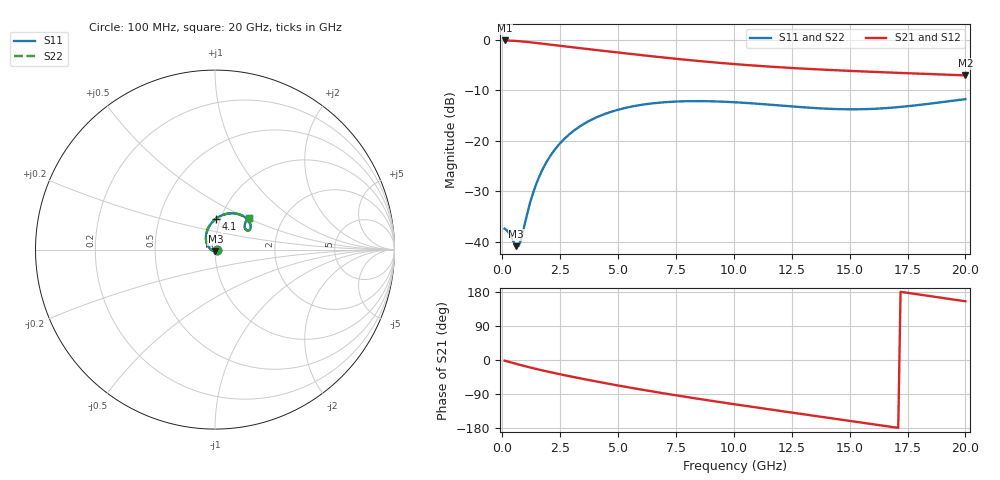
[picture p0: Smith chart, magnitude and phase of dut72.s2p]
! Created with skrf 1.9.0 (http://scikit-rf.org).
# GHz S RI R 50.0
!freq ReS11 ImS11 ReS21 ImS21 ReS12 ImS12 ReS22 ImS22
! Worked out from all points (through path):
!   200 points, 100 MHz to 20 GHz, reference 50 ohm
!   highest |S21| = -0.12 dB at 100 MHz (marker M1); lowest = -7.0 dB at 20 GHz (marker M2)
!   group delay of S21, straight-line fit = 27 ps
!   lowest |S11| = -40.9 dB at 600 MHz (marker M3), VSWR 1.02, Z = 50.2 - j0.883 ohm
!   |S11| at or under -10 dB: start of sweep to end of sweep
!   |S22| runs from -40.9 to -11.8 dB; largest |S21 - S12| = 2.2e-15
!   S11 on the Smith chart (normalised r, x): 100 MHz: 1.03, -0.00; 4.1 GHz: 0.95, +0.34; 20 GHz: 1.36, +0.51
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0.1  0.0133 -0.00206  0.9856 -0.0297  0.9856 -0.0297  0.0133 -0.00206
0.3  0.0106 -0.00573  0.9792 -0.0886  0.9792 -0.0886  0.0106 -0.00573
0.6  0.00183 -0.0088  0.9589 -0.1728  0.9589 -0.1728  0.00183 -0.0088
0.7  -0.00206 -0.00876  0.9498 -0.1994  0.9498 -0.1994  -0.00206 -0.00876
0.8  -0.00627 -0.00809  0.9396 -0.2251  0.9396 -0.2251  -0.00627 -0.00809
1.1  -0.0197 -0.00204  0.9038 -0.297  0.9038 -0.297  -0.0197 -0.00204
1.3  -0.0284 0.00523  0.8767 -0.3403  0.8767 -0.3403  -0.0284 0.00523
1.6  -0.0394 0.0202  0.8328 -0.3987  0.8328 -0.3987  -0.0394 0.0202
1.9  -0.0469 0.0387  0.7864 -0.4497  0.7864 -0.4497  -0.0469 0.0387
2.2  -0.0502 0.0592  0.7385 -0.4943  0.7385 -0.4943  -0.0502 0.0592
2.6  -0.0484 0.0874  0.6735 -0.545  0.6735 -0.545  -0.0484 0.0874
3.5  -0.0229 0.1439  0.5261 -0.6283  0.5261 -0.6283  -0.0229 0.1439
4.1  0.00476 0.1715  0.429 -0.6636  0.429 -0.6636  0.00476 0.1715
5.3  0.0676 0.1998  0.2446 -0.6935  0.2446 -0.6935  0.0676 0.1998
6.8  0.1358 0.196  0.044 -0.6727  0.044 -0.6727  0.1358 0.196
8.4  0.1807 0.1682  -0.1269 -0.6061  -0.1269 -0.6061  0.1807 0.1682
10.1  0.1983 0.1354  -0.2641 -0.5087  -0.2641 -0.5087  0.1983 0.1354
11.7  0.1955 0.1138  -0.3586 -0.4034  -0.3586 -0.4034  0.1955 0.1138
13.4  0.1827 0.106  -0.4275 -0.2826  -0.4275 -0.2826  0.1827 0.106
15.1  0.17 0.1138  -0.4656 -0.1563  -0.4656 -0.1563  0.17 0.1138
16.7  0.1653 0.1317  -0.4729 -0.0364  -0.4729 -0.0364  0.1653 0.1317
20  0.1905 0.174  -0.4024 0.1881  -0.4024 0.1881  0.1905 0.174
